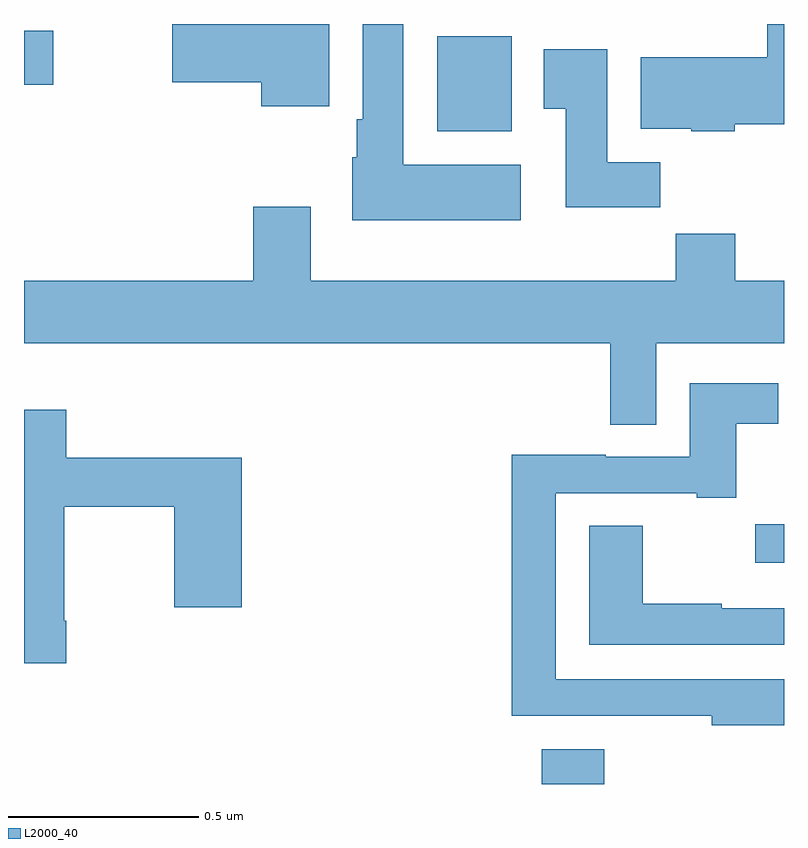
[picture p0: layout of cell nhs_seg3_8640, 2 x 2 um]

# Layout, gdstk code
import gdstk
lib = gdstk.Library(unit=1e-6, precision=1e-09)
def R(c, l, rs):  # rectangles x0, y0, x1, y1
    for r in rs: c.add(gdstk.rectangle(r[:2], r[2:], *l))
def P(c, l, *ps):  # polygons
    for p in ps: c.add(gdstk.Polygon(p, *l))
L2000_40 = (2000, 40)

nhs_seg3_8640 = lib.new_cell('nhs_seg3_8640')
R(nhs_seg3_8640, L2000_40, [(219.362,722.4,219.527,722.491), (219.924,722.982,220,723.083), (219.087,724.118,219.283,724.368), (218,724.24,218.077,724.382)])
P(nhs_seg3_8640, L2000_40, [(219.307,724.03),(218.998,724.03),(218.998,724.4),(218.891,724.4),(218.891,724.15),(218.876,724.15),(218.876,724.05),(218.864,724.05),(218.864,723.884),(219.307,723.884)],
  [(219.87,724.136),(220,724.136),(220,724.4),(219.956,724.4),(219.956,724.312),(219.623,724.312),(219.623,724.124),(219.756,724.124),(219.756,724.118),(219.87,724.118)],
  [(218.803,724.4),(218.39,724.4),(218.39,724.247),(218.624,724.247),(218.624,724.184),(218.803,724.184)],
  [(219.674,724.036),(219.535,724.036),(219.535,724.333),(219.368,724.333),(219.368,724.177),(219.425,724.177),(219.425,723.918),(219.674,723.918)],
  [(219.664,723.56),(220,723.56),(220,723.724),(219.872,723.724),(219.872,723.848),(219.715,723.848),(219.715,723.724),(218.755,723.724),(218.755,723.919),(218.603,723.919),(218.603,723.724),(218,723.724),(218,723.56),(219.543,723.56),(219.543,723.346),(219.664,723.346)],
  [(220,722.676),(219.399,722.676),(219.399,723.165),(219.77,723.165),(219.77,723.153),(219.874,723.153),(219.874,723.348),(219.985,723.348),(219.985,723.454),(219.752,723.454),(219.752,723.261),(219.531,723.261),(219.531,723.266),(219.283,723.266),(219.283,722.58),(219.61,722.58),(219.61,722.579),(219.81,722.579),(219.81,722.555),(220,722.555)],
  [(218.111,722.83),(218.106,722.83),(218.106,723.13),(218.395,723.13),(218.395,722.865),(218.573,722.865),(218.573,723.259),(218.111,723.259),(218.111,723.385),(218,723.385),(218,722.718),(218.111,722.718)],
  [(220,722.862),(219.836,722.862),(219.836,722.875),(219.628,722.875),(219.628,723.08),(219.488,723.08),(219.488,722.766),(220,722.766)])

lib.write_gds('nhs_seg3_8640.gds')
